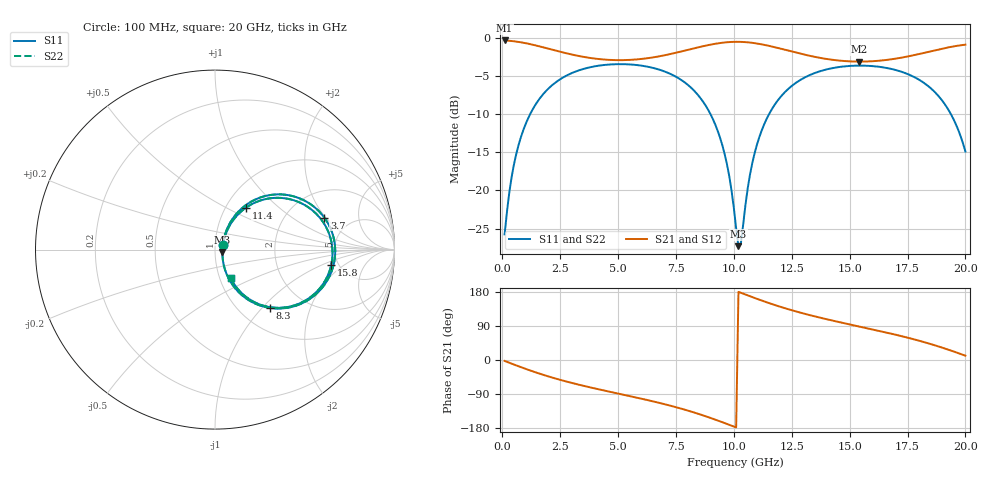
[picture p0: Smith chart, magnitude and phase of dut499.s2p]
! Touchstone file exported from HFSS 2026.1.0
!  File:  C:/ffzhzh/LocalFiles/Ansys_Project_Files/temp_train_TSV_RDL_499_1783106854_53076.aedt
!  Generated:  03:49:19 AM Jul  4, 2026
!  Design:  TSV_RDL
!  Project:  temp_train_TSV_RDL_499_1783106854_53076
! Variables:
!  h_bsmrdl = 4.56um
!  h_ox = 20um
!  h_rdl = 5um
!  h_sub = 91.44um
!  h_tmrdl = 3.49um
!  h_tsv = 91.44um
!  h_via = 3um
!  l_bsmrdl = 845.53um
!  l_sub = 5960.56um
!  l_tmrdl = 733.5um
!  m_sub = 200um
!  pitch = 50.93um
!  r_tsv = 2.46um
!  s_tmrdl = 10um
!  w_bsmrdl = 11.79um
!  w_sub = 500um
!  w_tmrdl = 18.2um
!  x_tsv_center1 = 742.6um
!  x_tsv_center2 = 1599.92um
!  x_tsv_center3 = 2351.62um
!  x_tsv_center4 = 3208.94um
!  x_tsv_center5 = 3960.64um
!  x_tsv_center6 = 4817.96um
# GHz S MA R 50.000000
! Terminal data exported
! Port[1] = TM_RDL1_1_T1
! Port[2] = TM_RDL5_1_T1
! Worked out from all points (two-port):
!   200 points, 100 MHz to 20 GHz, reference 50 ohm
!   highest |S21| = -0.38 dB at 100 MHz (marker M1); lowest = -3.1 dB at 15.4 GHz (marker M2)
!   |S21| within 3 dB of the highest: start of sweep to end of sweep
!   lowest |S11| = -27.3 dB at 10.2 GHz (marker M3), VSWR 1.09, Z = 54.3 - j1.38 ohm
!   |S11| at or under -10 dB: start of sweep to 1.206 GHz; 8.987 GHz to 11.52 GHz (2.538 GHz wide, 24.7 % of centre); 19.37 GHz to end of sweep
!   |S22| runs from -27.3 to -3.5 dB; largest |S21 - S12| = 1.4e-14
!   S11 on the Smith chart (normalised r, x): 100 MHz: 1.09, +0.06; 3.7 GHz: 3.23, +1.93; 8.3 GHz: 1.36, -1.11; 11.4 GHz: 1.24, +0.63; 15.8 GHz: 4.37, -1.29; 20 GHz: 1.13, -0.37
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0.1  0.05161 31.9  0.957 -2.4  0.957 -2.4  0.05161 31.9
! Gamma 0 0 0 0
! Port Impedance 50 0 50 0
0.5  0.147 60.4  0.9455 -11.9  0.9455 -11.9  0.147 60.4
1.1  0.2927 55.9  0.9127 -25.4  0.9127 -25.4  0.2927 55.9
2.2  0.4946 38.2  0.8295 -47.2  0.8295 -47.2  0.4946 38.2
3.5  0.623 19.0  0.7477 -68.0  0.7477 -68.0  0.623 19.0
3.7  0.6345 16.3  0.739 -70.9  0.739 -70.9  0.6345 16.3
5.3  0.6692 -4.1  0.7121 -92.5  0.7121 -92.5  0.6692 -4.1
6.8  0.6153 -23.8  0.7548 -113.4  0.7548 -113.4  0.6153 -23.8
8.3  0.4465 -46.7  0.8513 -138.8  0.8513 -138.8  0.4465 -46.7
9.5  0.1982 -64.3  0.9247 -164.1  0.9247 -164.1  0.1982 -64.3
9.8  0.1244 -63.5  0.9339 -170.9  0.9339 -170.9  0.1244 -63.5
10.1  0.05634 -42.0  0.9375 -177.9  0.9375 -177.9  0.05631 -42.1
10.2  0.0432 -17.1  0.9374 179.7  0.9374 179.7  0.04314 -17.1
10.3  0.04452 16.0  0.9366 177.4  0.9366 177.4  0.04444 16.0
10.8  0.1517 58.6  0.9233 165.9  0.9233 165.9  0.1517 58.6
11.4  0.2902 53.5  0.8902 152.7  0.8902 152.7  0.2902 53.6
13.4  0.5785 23.1  0.7525 116.6  0.7525 116.6  0.5785 23.1
15.4  0.6553 -2.5  0.696 88.6  0.696 88.6  0.6553 -2.5
15.8  0.6533 -7.4  0.6977 83.3  0.6977 83.3  0.6533 -7.4
16.7  0.628 -18.7  0.7171 70.9  0.7171 70.9  0.6281 -18.7
18.8  0.4206 -48.5  0.8326 36.5  0.8326 36.5  0.4207 -48.5
20  0.1798 -60.9  0.898 11.4  0.898 11.4  0.1798 -61.0
